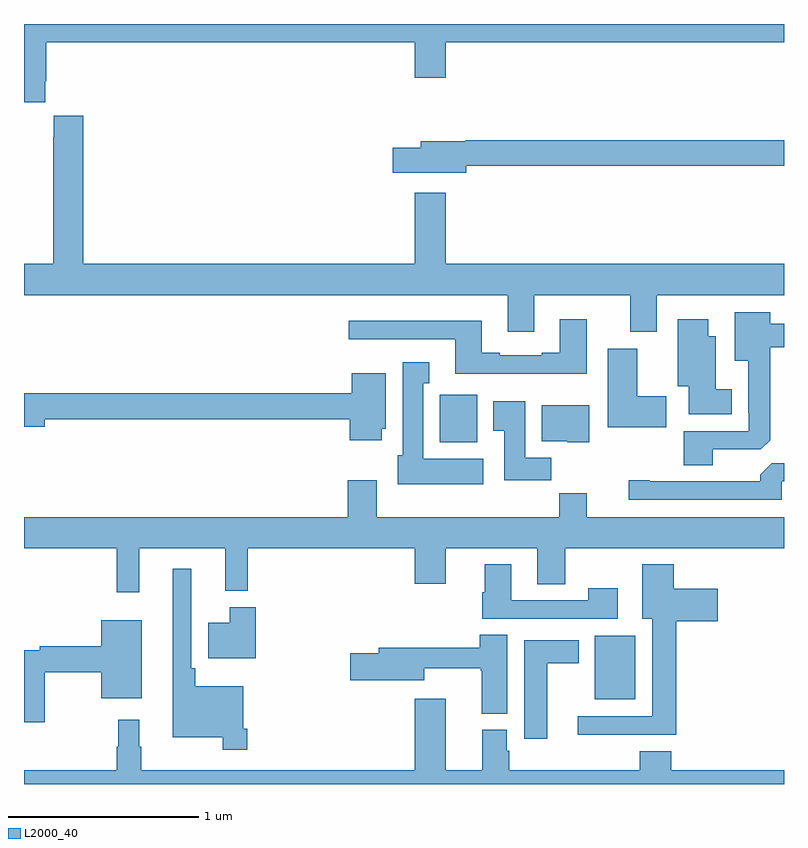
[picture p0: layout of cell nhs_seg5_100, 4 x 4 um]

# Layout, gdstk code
import gdstk
lib = gdstk.Library(unit=1e-6, precision=1e-09)
def R(c, l, rs):  # rectangles x0, y0, x1, y1
    for r in rs: c.add(gdstk.rectangle(r[:2], r[2:], *l))
def P(c, l, *ps):  # polygons
    for p in ps: c.add(gdstk.Polygon(p, *l))
L2000_40 = (2000, 40)

nhs_seg5_100 = lib.new_cell('nhs_seg5_100')
R(nhs_seg5_100, L2000_40, [(118.004,909.245,118.216,909.58), (117.189,910.598,117.385,910.848)])
P(nhs_seg5_100, L2000_40, [(115.111,912.499),(115.118,912.499),(115.118,912.704),(117.056,912.704),(117.056,912.516),(117.22,912.516),(117.22,912.704),(119,912.704),(119,912.799),(115,912.799),(115,912.387),(115.111,912.387)],
  [(117.685,911.372),(118.19,911.372),(118.19,911.178),(118.33,911.178),(118.33,911.372),(119,911.372),(119,911.536),(117.22,911.536),(117.22,911.911),(117.056,911.911),(117.056,911.536),(115.313,911.536),(115.313,912.316),(115.157,912.316),(115.157,912.203),(115.153,912.203),(115.153,911.536),(115,911.536),(115,911.372),(117.545,911.372),(117.545,911.178),(117.685,911.178)],
  [(117.328,912.052),(119,912.052),(119,912.188),(117.324,912.188),(117.324,912.181),(117.089,912.181),(117.089,912.147),(116.94,912.147),(116.94,912.017),(117.328,912.017)],
  [(118.624,910.56),(118.878,910.56),(118.927,910.609),(118.927,911.099),(119,911.099),(119,911.221),(118.927,911.221),(118.927,911.281),(118.742,911.281),(118.742,911.027),(118.811,911.027),(118.811,910.753),(118.815,910.753),(118.815,910.656),(118.472,910.656),(118.472,910.477),(118.624,910.477)],
  [(117.961,911.245),(117.821,911.245),(117.821,911.068),(117.725,911.068),(117.725,911.055),(117.505,911.055),(117.505,911.068),(117.409,911.068),(117.409,911.236),(116.709,911.236),(116.709,911.139),(117.269,911.139),(117.269,910.958),(117.961,910.958)],
  [(118.726,910.876),(118.642,910.876),(118.642,911.155),(118.6,911.155),(118.6,911.245),(118.442,911.245),(118.442,910.892),(118.499,910.892),(118.499,910.745),(118.726,910.745)],
  [(118.381,910.839),(118.228,910.839),(118.228,911.089),(118.073,911.089),(118.073,910.676),(118.381,910.676)],
  [(117.418,910.51),(117.1,910.51),(117.1,910.907),(117.133,910.907),(117.133,911.02),(116.993,911.02),(116.993,910.53),(116.966,910.53),(116.966,910.376),(117.418,910.376)],
  [(116.884,910.668),(116.905,910.668),(116.905,910.96),(116.726,910.96),(116.726,910.856),(115,910.856),(115,910.678),(115.108,910.678),(115.108,910.72),(116.714,910.72),(116.714,910.608),(116.884,910.608)],
  [(117.776,910.516),(117.637,910.516),(117.637,910.813),(117.47,910.813),(117.47,910.657),(117.527,910.657),(117.527,910.398),(117.776,910.398)],
  [(117.976,910.792),(117.725,910.792),(117.725,910.604),(117.858,910.604),(117.858,910.598),(117.976,910.598)],
  [(118.989,910.392),(119,910.392),(119,910.488),(118.935,910.488),(118.874,910.426),(118.874,910.392),(118.294,910.392),(118.294,910.397),(118.182,910.397),(118.182,910.296),(118.989,910.296)],
  [(115.607,910.04),(116.06,910.04),(116.06,909.815),(116.177,909.815),(116.177,910.04),(117.056,910.04),(117.056,909.852),(117.22,909.852),(117.22,910.04),(117.701,910.04),(117.701,909.85),(117.849,909.85),(117.849,910.04),(119,910.04),(119,910.204),(117.961,910.204),(117.961,910.328),(117.817,910.328),(117.817,910.204),(116.857,910.204),(116.857,910.399),(116.705,910.399),(116.705,910.204),(115,910.204),(115,910.04),(115.489,910.04),(115.489,909.807),(115.607,909.807)],
  [(118.433,909.656),(118.651,909.656),(118.651,909.826),(118.42,909.826),(118.42,909.955),(118.253,909.955),(118.253,909.668),(118.307,909.668),(118.307,909.156),(117.915,909.156),(117.915,909.059),(118.433,909.059)],
  [(118.126,909.829),(117.97,909.829),(117.97,909.765),(117.565,909.765),(117.565,909.955),(117.425,909.955),(117.425,909.807),(117.413,909.807),(117.413,909.669),(118.126,909.669)],
  [(116.174,909.091),(116.154,909.091),(116.154,909.313),(115.901,909.313),(115.901,909.409),(115.881,909.409),(115.881,909.931),(115.784,909.931),(115.784,909.044),(116.046,909.044),(116.046,908.979),(116.174,908.979)],
  [(116.219,909.73),(116.084,909.73),(116.084,909.649),(115.97,909.649),(115.97,909.461),(116.219,909.461)],
  [(115.108,909.388),(115.406,909.388),(115.406,909.251),(115.621,909.251),(115.621,909.661),(115.406,909.661),(115.406,909.524),(115.084,909.524),(115.084,909.504),(115,909.504),(115,909.123),(115.108,909.123)],
  [(117.544,909.584),(117.398,909.584),(117.398,909.517),(116.867,909.517),(116.867,909.488),(116.718,909.488),(116.718,909.346),(117.106,909.346),(117.106,909.407),(117.403,909.407),(117.403,909.396),(117.41,909.396),(117.41,909.169),(117.544,909.169)],
  [(117.754,909.434),(117.919,909.434),(117.919,909.556),(117.632,909.556),(117.632,909.036),(117.754,909.036)],
  [(119,908.872),(118.406,908.872),(118.406,908.971),(118.241,908.971),(118.241,908.872),(117.554,908.872),(117.554,908.973),(117.541,908.973),(117.541,909.084),(117.413,909.084),(117.413,908.872),(117.22,908.872),(117.22,909.247),(117.056,909.247),(117.056,908.872),(115.618,908.872),(115.618,908.996),(115.606,908.996),(115.606,909.136),(115.497,909.136),(115.497,908.996),(115.489,908.996),(115.489,908.872),(115,908.872),(115,908.799),(119,908.799)])

lib.write_gds('nhs_seg5_100.gds')
